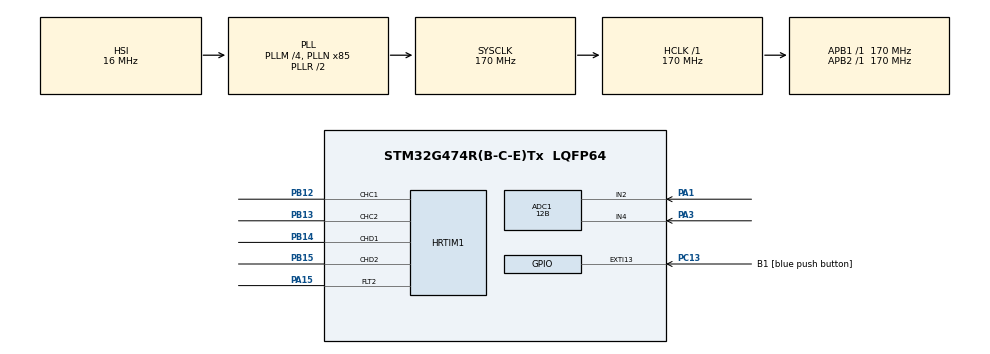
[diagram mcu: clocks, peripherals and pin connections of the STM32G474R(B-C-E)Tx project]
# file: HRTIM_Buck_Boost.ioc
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ADC1.Channel-5\#ChannelRegularConversion=ADC_CHANNEL_2
ADC1.Channel-IN2=ADC_CHANNEL_2
ADC1.Channel-IN4=ADC_CHANNEL_4
ADC1.ClockPrescaler=ADC_CLOCK_SYNC_PCLK_DIV4
ADC1.ContinuousConvMode=DISABLE
ADC1.DMAContinuousRequests=DISABLE
ADC1.DataAlign=ADC_DATAALIGN_RIGHT
ADC1.DiscontinuousConvMode=DISABLE
ADC1.EOCSelection=ADC_EOC_SINGLE_CONV
ADC1.EnableAnalogWatchDog1=false
ADC1.EnableAnalogWatchDog2=false
ADC1.EnableAnalogWatchDog3=false
ADC1.EnableInjectedConversion=ENABLE
ADC1.EnableInjectedOversampling=DISABLE
ADC1.EnableRegularConversion=ENABLE
ADC1.ExternalTrigConv=ADC_SOFTWARE_START
ADC1.ExternalTrigConvEdge=ADC_EXTERNALTRIGCONVEDGE_NONE
ADC1.ExternalTrigInjecConv=ADC_EXTERNALTRIGINJEC_HRTIM_TRG2
ADC1.ExternalTrigInjecConvEdge=ADC_EXTERNALTRIGINJECCONV_EDGE_RISING
ADC1.GainCompensation=0
ADC1.InjNumberOfConversion=2
ADC1.InjectedChannel-2\#ChannelInjectedConversion=ADC_CHANNEL_2
ADC1.InjectedChannel-4\#ChannelInjectedConversion=ADC_CHANNEL_4
ADC1.InjectedConvMode=None
ADC1.InjectedOffsetNumber-2\#ChannelInjectedConversion=ADC_OFFSET_NONE
ADC1.InjectedOffsetNumber-4\#ChannelInjectedConversion=ADC_OFFSET_NONE
ADC1.InjectedRank-2\#ChannelInjectedConversion=1
ADC1.InjectedRank-4\#ChannelInjectedConversion=2
ADC1.InjectedSamplingTime-2\#ChannelInjectedConversion=ADC_SAMPLETIME_247CYCLES_5
ADC1.InjectedSamplingTime-4\#ChannelInjectedConversion=ADC_SAMPLETIME_247CYCLES_5
ADC1.LowPowerAutoWait=DISABLE
ADC1.Mode=ADC_MODE_INDEPENDENT
ADC1.NbrOfConversion=1
ADC1.OffsetNumber-5\#ChannelRegularConversion=ADC_OFFSET_NONE
ADC1.Overrun=ADC_OVR_DATA_PRESERVED
ADC1.OversamplingMode=DISABLE
ADC1.Rank-5\#ChannelRegularConversion=1
ADC1.Resolution=ADC_RESOLUTION_12B
ADC1.SamplingTime-5\#ChannelRegularConversion=ADC_SAMPLETIME_247CYCLES_5
ADC1.ScanConvMode=ADC_SCAN_ENABLE
ADC1.injectedQueueMode=DISABLE
ADC1.master=1
HRTIM1.ADCTrigger2_Source1=HRTIM_ADCTRIGGEREVENT24_TIMERC_CMP2
HRTIM1.ADCTrigger_Id1=__NULL
HRTIM1.ADCTrigger_Id10=__NULL
HRTIM1.ADCTrigger_Id2=HRTIM_ADCTRIGGER_2
HRTIM1.ADCTrigger_Id3=__NULL
HRTIM1.ADCTrigger_Id4=__NULL
HRTIM1.ADCTrigger_Id5=__NULL
HRTIM1.ADCTrigger_Id6=__NULL
HRTIM1.ADCTrigger_Id7=__NULL
HRTIM1.ADCTrigger_Id8=__NULL
HRTIM1.ADCTrigger_Id9=__NULL
HRTIM1.AutoDelayedMode2-Output_TC1TC2=HRTIM_AUTODELAYEDMODE_REGULAR
HRTIM1.BlankingSourceFaultLine2=HRTIM_FAULTBLANKINGMODE_RSTALIGNED
HRTIM1.BurstDMAconfig-Output_TC1TC2=__NULL
HRTIM1.BurstDMAconfig-Output_TD1TD2=__NULL
HRTIM1.BurstMode-Output_TC1TC2=HRTIM_TIMERBURSTMODE_MAINTAINCLOCK
HRTIM1.BurstMode-Output_TD1TD2=HRTIM_TIMERBURSTMODE_MAINTAINCLOCK
HRTIM1.BurstModeEntryDelayed1-Output_TC1TC2=HRTIM_OUTPUTBURSTMODEENTRY_REGULAR
HRTIM1.BurstModeEntryDelayed1-Output_TD1TD2=HRTIM_OUTPUTBURSTMODEENTRY_REGULAR
HRTIM1.BurstModeEntryDelayed2-Output_TC1TC2=HRTIM_OUTPUTBURSTMODEENTRY_REGULAR
HRTIM1.BurstModeEntryDelayed2-Output_TD1TD2=HRTIM_OUTPUTBURSTMODEENTRY_REGULAR
HRTIM1.CaptureUnit1-Output_TC1TC2=__NULL
HRTIM1.CaptureUnit1-Output_TD1TD2=__NULL
HRTIM1.CaptureUnit2-Output_TC1TC2=__NULL
HRTIM1.CaptureUnit2-Output_TD1TD2=__NULL
HRTIM1.ChopperModeEnable1-Output_TC1TC2=HRTIM_OUTPUTCHOPPERMODE_DISABLED
HRTIM1.ChopperModeEnable1-Output_TD1TD2=HRTIM_OUTPUTCHOPPERMODE_DISABLED
HRTIM1.ChopperModeEnable2-Output_TC1TC2=HRTIM_OUTPUTCHOPPERMODE_DISABLED
HRTIM1.ChopperModeEnable2-Output_TD1TD2=HRTIM_OUTPUTCHOPPERMODE_DISABLED
HRTIM1.ChopperModeconfig-Output_TC1TC2=__NULL
HRTIM1.ChopperModeconfig-Output_TD1TD2=__NULL
HRTIM1.CompareUnit1-Output_TC1TC2=HRTIM_COMPAREUNIT_1
HRTIM1.CompareUnit1-Output_TD1TD2=HRTIM_COMPAREUNIT_1
HRTIM1.CompareUnit2-Output_TC1TC2=HRTIM_COMPAREUNIT_2
HRTIM1.CompareUnit2-Output_TD1TD2=__NULL
HRTIM1.CompareUnit3-Output_TC1TC2=__NULL
HRTIM1.CompareUnit3-Output_TD1TD2=__NULL
HRTIM1.CompareUnit4-Output_TC1TC2=__NULL
HRTIM1.CompareUnit4-Output_TD1TD2=__NULL
HRTIM1.CompareValue1-Output_TC1TC2=BUCK_PWM_PERIOD - 0x60
HRTIM1.CompareValue1-Output_TD1TD2=BUCK_PWM_PERIOD+1
HRTIM1.CompareValue2-Output_TC1TC2=BUCK_PWM_PERIOD/2
HRTIM1.Configuration_TC=Waveform
HRTIM1.Configuration_TD=Waveform
HRTIM1.CounterFaultLine2=0
HRTIM1.DACSynchro-Output_TC1TC2=HRTIM_DACSYNC_NONE
HRTIM1.DACSynchro-Output_TD1TD2=HRTIM_DACSYNC_NONE
HRTIM1.DeadTimeInsertion-Output_TC1TC2=HRTIM_TIMDEADTIMEINSERTION_ENABLED
HRTIM1.DeadTimeInsertion-Output_TD1TD2=HRTIM_TIMDEADTIMEINSERTION_ENABLED
HRTIM1.Deadtimeconfig-Output_TC1TC2=HRTIM_TIMERINDEX_TIMER_C
HRTIM1.Deadtimeconfig-Output_TD1TD2=HRTIM_TIMERINDEX_TIMER_D
HRTIM1.DelayedProtectionMode-Output_TC1TC2=HRTIM_TIMER_A_B_C_DELAYEDPROTECTION_DISABLED
HRTIM1.DelayedProtectionMode-Output_TD1TD2=HRTIM_TIMER_D_E_DELAYEDPROTECTION_DISABLED
HRTIM1.DualChannelDacEnableFake_TC-Output_TC1TC2=HRTIM_TIMER_DCDE_DISABLED
HRTIM1.DualChannelDacEnableFake_TD-Output_TD1TD2=HRTIM_TIMER_DCDE_DISABLED
HRTIM1.Enable=HRTIM_BURSTMODECTL_DISABLED
HRTIM1.Enable_FaultLine2=HRTIM_FAULTMODECTL_ENABLED
HRTIM1.Event1-Output_TC1TC2=__NULL
HRTIM1.Event1-Output_TD1TD2=__NULL
HRTIM1.Event10-Output_TC1TC2=__NULL
HRTIM1.Event10-Output_TD1TD2=__NULL
HRTIM1.Event2-Output_TC1TC2=__NULL
HRTIM1.Event2-Output_TD1TD2=__NULL
HRTIM1.Event3-Output_TC1TC2=__NULL
HRTIM1.Event3-Output_TD1TD2=__NULL
HRTIM1.Event4-Output_TC1TC2=__NULL
HRTIM1.Event4-Output_TD1TD2=__NULL
HRTIM1.Event5-Output_TC1TC2=__NULL
HRTIM1.Event5-Output_TD1TD2=__NULL
HRTIM1.Event6-Output_TC1TC2=__NULL
HRTIM1.Event6-Output_TD1TD2=__NULL
HRTIM1.Event7-Output_TC1TC2=__NULL
HRTIM1.Event7-Output_TD1TD2=__NULL
HRTIM1.Event8-Output_TC1TC2=__NULL
HRTIM1.Event8-Output_TD1TD2=__NULL
HRTIM1.Event9-Output_TC1TC2=__NULL
HRTIM1.Event9-Output_TD1TD2=__NULL
HRTIM1.EventEnableA-Output_TC1TC2=__NULL
HRTIM1.EventEnableA-Output_TD1TD2=__NULL
HRTIM1.Event_EEV1=__NULL
HRTIM1.Event_EEV10=__NULL
HRTIM1.Event_EEV2=__NULL
HRTIM1.Event_EEV3=__NULL
HRTIM1.Event_EEV4=__NULL
HRTIM1.Event_EEV5=__NULL
HRTIM1.Event_EEV6=__NULL
HRTIM1.Event_EEV7=__NULL
HRTIM1.Event_EEV8=__NULL
HRTIM1.Event_EEV9=__NULL
HRTIM1.FallingLock-Output_TC1TC2=HRTIM_TIMDEADTIME_FALLINGLOCK_WRITE
HRTIM1.FallingLock-Output_TD1TD2=HRTIM_TIMDEADTIME_FALLINGLOCK_WRITE
HRTIM1.FallingSign-Output_TC1TC2=HRTIM_TIMDEADTIME_FALLINGSIGN_POSITIVE
HRTIM1.FallingSign-Output_TD1TD2=HRTIM_TIMDEADTIME_FALLINGSIGN_POSITIVE
HRTIM1.FallingSignLock-Output_TC1TC2=HRTIM_TIMDEADTIME_FALLINGSIGNLOCK_READONLY
HRTIM1.FallingSignLock-Output_TD1TD2=HRTIM_TIMDEADTIME_FALLINGSIGNLOCK_READONLY
HRTIM1.FallingValue-Output_TC1TC2=DT_FALLING
HRTIM1.FallingValue-Output_TD1TD2=DT_FALLING
HRTIM1.FaultEnable_Source1-Output_TC1TC2=HRTIM_TIMFAULTENABLE_FAULT2
HRTIM1.FaultEnable_Source1-Output_TD1TD2=HRTIM_TIMFAULTENABLE_FAULT2
HRTIM1.FaultLevel1-Output_TC1TC2=HRTIM_OUTPUTFAULTLEVEL_INACTIVE
HRTIM1.FaultLevel1-Output_TD1TD2=HRTIM_OUTPUTFAULTLEVEL_INACTIVE
HRTIM1.FaultLevel2-Output_TC1TC2=HRTIM_OUTPUTFAULTLEVEL_INACTIVE
HRTIM1.FaultLevel2-Output_TD1TD2=HRTIM_OUTPUTFAULTLEVEL_INACTIVE
HRTIM1.FaultLock-Output_TC1TC2=HRTIM_TIMFAULTLOCK_READWRITE
HRTIM1.FaultLock-Output_TD1TD2=HRTIM_TIMFAULTLOCK_READWRITE
HRTIM1.Fault_Line1=__NULL
HRTIM1.Fault_Line2=HRTIM_FAULT_2
HRTIM1.Fault_Line3=__NULL
HRTIM1.Fault_Line4=__NULL
HRTIM1.Fault_Line5=__NULL
HRTIM1.Fault_Line6=__NULL
HRTIM1.Filter_FaultLine2=HRTIM_FAULTFILTER_NONE
HRTIM1.GreaterCMP1_TC=HRTIM_TIMERGTCMP1_EQUAL
HRTIM1.GreaterCMP1_TD=HRTIM_TIMERGTCMP1_EQUAL
HRTIM1.HRTIMInterruptResquests1=HRTIM_IT_NONE
HRTIM1.HRTIMInterruptResquests2=HRTIM_IT_NONE
HRTIM1.HRTIMInterruptResquests3=HRTIM_IT_NONE
HRTIM1.HRTIMInterruptResquests4=HRTIM_IT_NONE
HRTIM1.HRTIMInterruptResquests5=HRTIM_IT_NONE
HRTIM1.HRTIMInterruptResquests6=HRTIM_IT_NONE
HRTIM1.HRTIMInterruptResquests7=HRTIM_IT_NONE
HRTIM1.HRTIMInterruptResquests8=HRTIM_IT_NONE
HRTIM1.HRTIMInterruptResquests9=HRTIM_IT_NONE
HRTIM1.IdleLevel1-Output_TC1TC2=HRTIM_OUTPUTIDLELEVEL_INACTIVE
HRTIM1.IdleLevel1-Output_TD1TD2=HRTIM_OUTPUTIDLELEVEL_INACTIVE
HRTIM1.IdleLevel2-Output_TC1TC2=HRTIM_OUTPUTIDLELEVEL_INACTIVE
HRTIM1.IdleLevel2-Output_TD1TD2=HRTIM_OUTPUTIDLELEVEL_INACTIVE
HRTIM1.IdleMode1-Output_TC1TC2=HRTIM_OUTPUTIDLEMODE_NONE
HRTIM1.IdleMode1-Output_TD1TD2=HRTIM_OUTPUTIDLEMODE_NONE
HRTIM1.IdleMode2-Output_TC1TC2=HRTIM_OUTPUTIDLEMODE_NONE
HRTIM1.IdleMode2-Output_TD1TD2=HRTIM_OUTPUTIDLEMODE_NONE
HRTIM1.InterleavedMode-Output_TC1TC2=HRTIM_INTERLEAVED_MODE_DISABLED
HRTIM1.InterleavedMode-Output_TD1TD2=HRTIM_INTERLEAVED_MODE_DISABLED
HRTIM1.InterruptRequests1-Output_TC1TC2=HRTIM_TIM_IT_REP
HRTIM1.InterruptRequests1-Output_TD1TD2=HRTIM_TIM_IT_REP
HRTIM1.Lock_FaultLine2=HRTIM_FAULTLOCK_READWRITE
HRTIM1.ModeTimeBase-Output_TC1TC2=HRTIM_MODE_CONTINUOUS
HRTIM1.ModeTimeBase-Output_TD1TD2=HRTIM_MODE_CONTINUOUS
HRTIM1.NumberADCTriggerSource2=1
HRTIM1.NumberDMARequests_TC=0
HRTIM1.NumberDMARequests_TD=0
HRTIM1.NumberFaultEnable-Output_TC1TC2=1
HRTIM1.NumberFaultEnable-Output_TD1TD2=1
HRTIM1.NumberInterruptRequests-Output_TC1TC2=1
HRTIM1.NumberInterruptRequests-Output_TD1TD2=1
HRTIM1.NumberResetSource1-Output_TC1TC2=1
HRTIM1.NumberResetSource1-Output_TD1TD2=1
HRTIM1.NumberResetSource2_TC=1
HRTIM1.NumberResetSource2_TD=1
HRTIM1.NumberResetTrigger-Output_TC1TC2=0
HRTIM1.NumberResetTrigger-Output_TD1TD2=0
HRTIM1.NumberSetSource1-Output_TC1TC2=1
HRTIM1.NumberSetSource1-Output_TD1TD2=1
HRTIM1.NumberSetSource2_TC=1
HRTIM1.NumberSetSource2_TD=1
HRTIM1.NumberUpdateTrigger-Output_TC1TC2=0
HRTIM1.NumberUpdateTrigger-Output_TD1TD2=0
HRTIM1.ORingUpdateSource_ADCTrigger2=HRTIM_ADCTRIGGERUPDATE_TIMER_C
HRTIM1.Output1-Output_TC1TC2=HRTIM_OUTPUT_TC1
HRTIM1.Output1-Output_TD1TD2=HRTIM_OUTPUT_TD1
HRTIM1.Output2-Output_TC1TC2=HRTIM_OUTPUT_TC2
HRTIM1.Output2-Output_TD1TD2=HRTIM_OUTPUT_TD2
HRTIM1.Periode_TC=BUCK_PWM_PERIOD
HRTIM1.Periode_TD=BUCK_PWM_PERIOD
HRTIM1.Polarity1-Output_TC1TC2=HRTIM_OUTPUTPOLARITY_HIGH
HRTIM1.Polarity1-Output_TD1TD2=HRTIM_OUTPUTPOLARITY_HIGH
HRTIM1.Polarity2-Output_TC1TC2=HRTIM_OUTPUTPOLARITY_HIGH
HRTIM1.Polarity2-Output_TD1TD2=HRTIM_OUTPUTPOLARITY_HIGH
HRTIM1.Polarity_FaultLine2=HRTIM_FAULTPOLARITY_LOW
HRTIM1.PreloadEnable-Output_TC1TC2=HRTIM_PRELOAD_ENABLED
HRTIM1.PreloadEnable-Output_TD1TD2=HRTIM_PRELOAD_ENABLED
HRTIM1.PrescalerDead-Output_TC1TC2=HRTIM_TIMDEADTIME_PRESCALERRATIO_MUL8
HRTIM1.PrescalerDead-Output_TD1TD2=HRTIM_TIMDEADTIME_PRESCALERRATIO_MUL8
HRTIM1.PrescalerFault=HRTIM_FAULTPRESCALER_DIV1
HRTIM1.PushPull-Output_TC1TC2=HRTIM_TIMPUSHPULLMODE_DISABLED
HRTIM1.PushPull-Output_TD1TD2=HRTIM_TIMPUSHPULLMODE_DISABLED
HRTIM1.ReSyncUpdate-Output_TC1TC2=HRTIM_TIMERESYNC_UPDATE_UNCONDITIONAL
HRTIM1.ReSyncUpdate-Output_TD1TD2=HRTIM_TIMERESYNC_UPDATE_UNCONDITIONAL
HRTIM1.RepetitionCounter-Output_TC1TC2=31
HRTIM1.RepetitionCounter-Output_TD1TD2=31
HRTIM1.RepetitionUpdate-Output_TC1TC2=HRTIM_UPDATEONREPETITION_ENABLED
HRTIM1.RepetitionUpdate-Output_TD1TD2=HRTIM_UPDATEONREPETITION_ENABLED
HRTIM1.ResetModeFaultLine2=HRTIM_FAULTCOUNTERRST_UNCONDITIONAL
HRTIM1.ResetOnSync-Output_TC1TC2=HRTIM_SYNCRESET_DISABLED
HRTIM1.ResetOnSync-Output_TD1TD2=HRTIM_SYNCRESET_DISABLED
HRTIM1.ResetOutput1_Source1-Output_TC1TC2=HRTIM_OUTPUTRESET_TIMPER
HRTIM1.ResetOutput1_Source1-Output_TD1TD2=HRTIM_OUTPUTRESET_TIMPER
HRTIM1.ResetOutput2_Source1-Output_TC1TC2=HRTIM_OUTPUTRESET_TIMPER
HRTIM1.ResetOutput2_Source1-Output_TD1TD2=HRTIM_OUTPUTRESET_TIMPER
HRTIM1.ResetUpdate-Output_TC1TC2=HRTIM_TIMUPDATEONRESET_DISABLED
HRTIM1.ResetUpdate-Output_TD1TD2=HRTIM_TIMUPDATEONRESET_DISABLED
HRTIM1.RisingLock-Output_TC1TC2=HRTIM_TIMDEADTIME_RISINGLOCK_WRITE
HRTIM1.RisingLock-Output_TD1TD2=HRTIM_TIMDEADTIME_RISINGLOCK_WRITE
HRTIM1.RisingSign-Output_TC1TC2=HRTIM_TIMDEADTIME_RISINGSIGN_POSITIVE
HRTIM1.RisingSign-Output_TD1TD2=HRTIM_TIMDEADTIME_RISINGSIGN_POSITIVE
HRTIM1.RisingSignLock-Output_TC1TC2=HRTIM_TIMDEADTIME_RISINGSIGNLOCK_READONLY
HRTIM1.RisingSignLock-Output_TD1TD2=HRTIM_TIMDEADTIME_RISINGSIGNLOCK_READONLY
HRTIM1.RisingValue-Output_TC1TC2=DT_RISING
HRTIM1.RisingValue-Output_TD1TD2=DT_RISING
HRTIM1.SetOutput1_Source1-Output_TC1TC2=HRTIM_OUTPUTSET_TIMCMP1
HRTIM1.SetOutput1_Source1-Output_TD1TD2=HRTIM_OUTPUTSET_TIMCMP1
HRTIM1.SetOutput2_Source1-Output_TC1TC2=HRTIM_OUTPUTSET_TIMCMP1
HRTIM1.SetOutput2_Source1-Output_TD1TD2=HRTIM_OUTPUTSET_TIMCMP1
HRTIM1.Source_FaultLine2=HRTIM_FAULTSOURCE_DIGITALINPUT
HRTIM1.StartOnSync-Output_TC1TC2=HRTIM_SYNCSTART_DISABLED
HRTIM1.StartOnSync-Output_TD1TD2=HRTIM_SYNCSTART_DISABLED
HRTIM1.SwapC=__NULL
HRTIM1.SwapD=__NULL
HRTIM1.SyncOptions=HRTIM_SYNCOPTION_NONE
HRTIM1.Timeout=100
HRTIM1.TimerIdx-Output_TC1TC2=HRTIM_TIMERINDEX_TIMER_C
HRTIM1.TimerIdx-Output_TD1TD2=HRTIM_TIMERINDEX_TIMER_D
HRTIM1.TrigHalf_TC=HRTIM_TIMERTRIGHALF_DISABLED
HRTIM1.UpDownMode-Output_TC1TC2=HRTIM_TIMERUPDOWNMODE_UP
HRTIM1.UpDownMode-Output_TD1TD2=HRTIM_TIMERUPDOWNMODE_UP
HRTIM1.UpdateGating-Output_TC1TC2=HRTIM_UPDATEGATING_INDEPENDENT
HRTIM1.UpdateGating-Output_TD1TD2=HRTIM_UPDATEGATING_INDEPENDENT
HRTIM1.postscaler2=0x0
Mcu.Family=STM32G4
Mcu.Name=STM32G474R(B-C-E)Tx
Mcu.Package=LQFP64
NVIC.PriorityGroup=NVIC_PRIORITYGROUP_4
PA1.Mode=IN2-Single-Ended
PA1.Signal=ADC1_IN2
PA13.GPIO_Label=T_SWDIO
PA13.Mode=Serial_Wire
PA13.Signal=SYS_JTMS-SWDIO
PA14.GPIO_Label=T_SWCLK
PA14.Mode=Serial_Wire
PA14.Signal=SYS_JTCK-SWCLK
PA15.GPIO_PuPd=GPIO_PULLUP
PA15.Mode=Fault_Enable2
PA15.Signal=HRTIM1_FLT2
PA3.Mode=IN4-Single-Ended
PA3.Signal=ADC1_IN4
PB12.Mode=Output_TC1TC2
PB12.Signal=HRTIM1_CHC1
PB13.Mode=Output_TC1TC2
PB13.Signal=HRTIM1_CHC2
PB14.Mode=Output_TD1TD2
PB14.Signal=HRTIM1_CHD1
PB15.Mode=Output_TD1TD2
PB15.Signal=HRTIM1_CHD2
PB3.GPIO_Label=T_SWO
PB3.Signal=SYS_JTDO-SWO
PC13.GPIO_Label=B1 [blue push button]
PC13.Signal=GPXTI13
ProjectManager.HeapSize=0x200
ProjectManager.StackSize=0x400
ProjectManager.TargetToolchain=EWARM V8.32
RCC.ADC12Freq_Value=170000000
RCC.ADC345Freq_Value=170000000
RCC.AHBFreq_Value=170000000
RCC.APB1Freq_Value=170000000
RCC.APB1TimFreq_Value=170000000
RCC.APB2Freq_Value=170000000
RCC.APB2TimFreq_Value=170000000
RCC.CortexFreq_Value=170000000
RCC.EXTERNAL_CLOCK_VALUE=12288000
RCC.HCLKFreq_Value=170000000
RCC.HSE_VALUE=24000000
RCC.HSI48_VALUE=48000000
RCC.HSI_VALUE=16000000
RCC.LSE_VALUE=32768
RCC.PLLM=RCC_PLLM_DIV4
RCC.PLLN=85
RCC.SYSCLKFreq_VALUE=170000000
RCC.SYSCLKSource=RCC_SYSCLKSOURCE_PLLCLK
RCC.USBFreq_Value=170000000
RCC.VCOOutputFreq_Value=340000000
VP_SYS_VS_DBSignals.Mode=DisableDeadBatterySignals
board=custom

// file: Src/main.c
/* USER CODE BEGIN Header */
/**
  ******************************************************************************
  * @file           : main.c
  * @brief          : Main program body
  ******************************************************************************
  * @attention
  *
  * Copyright (c) 2019-2021 STMicroelectronics.
  * All rights reserved.
  *
  * This software is licensed under terms that can be found in the LICENSE file
  * in the root directory of this software component.
  * If no LICENSE file comes with this software, it is provided AS-IS.
  *
  ******************************************************************************
  */
/* USER CODE END Header */
#include "main.h"

/* USER CODE BEGIN Includes */
#include "b_g474e_dpow1.h"
/* USER CODE END Includes */

ADC_HandleTypeDef hadc1;

HRTIM_HandleTypeDef hhrtim1;

/* USER CODE BEGIN PV */
/* Private variables ---------------------------------------------------------*/
/* BUCK cannot re-start until Vout capacitor is de-energized below this value */
#define DE_ENERGIZING_THRESHOLD         ((uint16_t)2500)

/* BOOST cannot be started if VIN value is above this threshold */
#define OVER_VOLTAGE_PROTECTION         ((uint16_t)5000)

/* This is the VDDA supply in mV */
#define VDDA                            ((uint16_t)3300)

/* Deadtime values for buck and boost stages */
#define DT_RISING       ((uint16_t)250) // 184ns
#define DT_FALLING      ((uint16_t)300) // 220ns

__IO uint32_t Vin, Vout; /* volatile is here for debug convenience */

DemoState_TypeDef DemoState;

/* USER CODE END PV */

void SystemClock_Config(void);
static void MX_GPIO_Init(void);
static void MX_HRTIM1_Init(void);
static void MX_ADC1_Init(void);

int main(void)
{

  /* MCU Configuration--------------------------------------------------------*/

  /* Reset of all peripherals, Initializes the Flash interface and the Systick. */
  HAL_Init();

  /* Configure the system clock */
  SystemClock_Config();

  /* Initialize all configured peripherals */
  MX_GPIO_Init();
  MX_HRTIM1_Init();
  MX_ADC1_Init();
  /* USER CODE BEGIN 2 */
  BSP_LED_Init(LED4);
  BSP_LED_Init(LED3);
  BSP_LED_Init(LED5);

  BSP_JOY_Init(JOY1, JOY_MODE_GPIO, JOY_SEL);

  /* Run the ADC1 calibration in single-ended mode */
  HAL_ADCEx_Calibration_Start(&hadc1, ADC_SINGLE_ENDED);

  /* Start ADC1 Injected Conversions */
  HAL_ADCEx_InjectedStart(&hadc1);

  /* Demo starts by de-energizing output capacitor, should the demo be in boost
  mode when the MCU is reset */
  DemoState = DE_ENERGIZE;

  /* HRTIM start-up */
  /* Enable HRTIM's outputs TC1, TC2, TD1 and TD2 */
  LL_HRTIM_EnableOutput(HRTIM1,
                          LL_HRTIM_OUTPUT_TC1
                        | LL_HRTIM_OUTPUT_TC2
                        | LL_HRTIM_OUTPUT_TD1
                        | LL_HRTIM_OUTPUT_TD2);

  LL_HRTIM_EnableIT_REP(HRTIM1, LL_HRTIM_TIMER_C);
  LL_HRTIM_EnableIT_REP(HRTIM1, LL_HRTIM_TIMER_D);
  LL_HRTIM_TIM_CounterEnable(HRTIM1, LL_HRTIM_TIMER_C);
  LL_HRTIM_TIM_CounterEnable(HRTIM1, LL_HRTIM_TIMER_D);

  /* USER CODE END 2 */

  /* Infinite loop */
  while (1)
  {

    /* USER CODE BEGIN 3 */

    /* ---------------- */
    /* Fault management */
    /* ---------------- */
    if (LL_HRTIM_IsActiveFlag_FLT2(HRTIM1))
      DemoState = FAULT;

    /* -------------------------------------------------------------------------*/
    /* Input and output voltages measures (can be displayed in a watch window)  */
    /* -------------------------------------------------------------------------*/
    Vin = (HAL_ADCEx_InjectedGetValue(&hadc1, ADC_INJECTED_RANK_1) * VDDA)/0xFFF;
    /* VIN bridge conversion is 4.97 (6.8K / 6.8K + 27K) */
    Vin = (497 * Vin )/100; /* Values in mV (for debug convenience) */

    Vout = (HAL_ADCEx_InjectedGetValue(&hadc1, ADC_INJECTED_RANK_2) * VDDA)/0xFFF;
    /* VOUT bridge conversion is 5.03 (3.3K / 3.3K + 13.3K) */
    Vout = (503 * Vout)/100; /* Values in mV (for debug convenience) */

    /* ---------------- */
    /* Normal operation */
    /* ---------------- */
    switch(DemoState)
    {
    case BUCK:
      /* Duty cycle is modified in the TIMC IRQ */
      /* BOOST cannot be started if VIN value is too high (Vout must not exceed 15V)*/
      if ((BSP_JOY_GetState(JOY1) == JOY_SEL) && (Vin < OVER_VOLTAGE_PROTECTION))
      {
        DemoState = BOOST;
        while(BSP_JOY_GetState(JOY1) == JOY_SEL);
      }
      BSP_LED_Toggle(LED4);
      BSP_LED_Off(LED3);
      break;

    case BOOST:
      /* Vout capacitor must be de-energized before switching to BUCK mode
      otherwise causing current to flow back into voltage source */
      if (BSP_JOY_GetState(JOY1) == JOY_SEL)
      {
        DemoState = DE_ENERGIZE;
        while(BSP_JOY_GetState(JOY1) == JOY_SEL);
      }
      BSP_LED_Toggle(LED3);
      BSP_LED_Off(LED4);
      break;

    case DE_ENERGIZE:
      /* Once Vout is below a safe level (below Vin value), BUCK operation can be started */
      if (Vout < DE_ENERGIZING_THRESHOLD)
      {
        DemoState = BUCK;
      }
      BSP_LED_Off(LED3);
      BSP_LED_Off(LED5);
      break;

    case FAULT:
      /* If fault is triggered, operation can be re-started with the push-button */
      if (BSP_JOY_GetState(JOY1) == JOY_SEL)
      {
        LL_HRTIM_ClearFlag_FLT2(HRTIM1);
        LL_HRTIM_EnableOutput(HRTIM1,
                               LL_HRTIM_OUTPUT_TC1
                             | LL_HRTIM_OUTPUT_TC2
                             | LL_HRTIM_OUTPUT_TD1
                             | LL_HRTIM_OUTPUT_TD2);

        DemoState = DE_ENERGIZE;
        while(BSP_JOY_GetState(JOY1) == JOY_SEL);
      }
      BSP_LED_Toggle(LED5);
      BSP_LED_Off(LED4);
      BSP_LED_Off(LED3);
      break;

    default:
      LL_HRTIM_DisableOutput(HRTIM1,
                            LL_HRTIM_OUTPUT_TC1
                          | LL_HRTIM_OUTPUT_TC2
                          | LL_HRTIM_OUTPUT_TD1
                          | LL_HRTIM_OUTPUT_TD2);
      break;
    }

    /* This delay defines the main loop time and LED blinking rate*/
    HAL_Delay(50);

  }
  /* USER CODE END 3 */
}

void SystemClock_Config(void)
{
  RCC_OscInitTypeDef RCC_OscInitStruct = {0};
  RCC_ClkInitTypeDef RCC_ClkInitStruct = {0};

  /** Configure the main internal regulator output voltage
  */
  HAL_PWREx_ControlVoltageScaling(PWR_REGULATOR_VOLTAGE_SCALE1_BOOST);

  /** Initializes the RCC Oscillators according to the specified parameters
  * in the RCC_OscInitTypeDef structure.
  */
  RCC_OscInitStruct.OscillatorType = RCC_OSCILLATORTYPE_HSI;
  RCC_OscInitStruct.HSIState = RCC_HSI_ON;
  RCC_OscInitStruct.HSICalibrationValue = RCC_HSICALIBRATION_DEFAULT;
  RCC_OscInitStruct.PLL.PLLState = RCC_PLL_ON;
  RCC_OscInitStruct.PLL.PLLSource = RCC_PLLSOURCE_HSI;
  RCC_OscInitStruct.PLL.PLLM = RCC_PLLM_DIV4;
  RCC_OscInitStruct.PLL.PLLN = 85;
  RCC_OscInitStruct.PLL.PLLP = RCC_PLLP_DIV2;
  RCC_OscInitStruct.PLL.PLLQ = RCC_PLLQ_DIV2;
  RCC_OscInitStruct.PLL.PLLR = RCC_PLLR_DIV2;
  if (HAL_RCC_OscConfig(&RCC_OscInitStruct) != HAL_OK)
  {
    Error_Handler();
  }

  /** Initializes the CPU, AHB and APB buses clocks
  */
  RCC_ClkInitStruct.ClockType = RCC_CLOCKTYPE_HCLK|RCC_CLOCKTYPE_SYSCLK
                              |RCC_CLOCKTYPE_PCLK1|RCC_CLOCKTYPE_PCLK2;
  RCC_ClkInitStruct.SYSCLKSource = RCC_SYSCLKSOURCE_PLLCLK;
  RCC_ClkInitStruct.AHBCLKDivider = RCC_SYSCLK_DIV1;
  RCC_ClkInitStruct.APB1CLKDivider = RCC_HCLK_DIV1;
  RCC_ClkInitStruct.APB2CLKDivider = RCC_HCLK_DIV1;

  if (HAL_RCC_ClockConfig(&RCC_ClkInitStruct, FLASH_LATENCY_4) != HAL_OK)
  {
    Error_Handler();
  }
}

static void MX_ADC1_Init(void)
{

  ADC_MultiModeTypeDef multimode = {0};
  ADC_InjectionConfTypeDef sConfigInjected = {0};
  ADC_ChannelConfTypeDef sConfig = {0};

  /** Common config
  */
  hadc1.Instance = ADC1;
  hadc1.Init.ClockPrescaler = ADC_CLOCK_SYNC_PCLK_DIV4;
  hadc1.Init.Resolution = ADC_RESOLUTION_12B;
  hadc1.Init.DataAlign = ADC_DATAALIGN_RIGHT;
  hadc1.Init.GainCompensation = 0;
  hadc1.Init.ScanConvMode = ADC_SCAN_ENABLE;
  hadc1.Init.EOCSelection = ADC_EOC_SINGLE_CONV;
  hadc1.Init.LowPowerAutoWait = DISABLE;
  hadc1.Init.ContinuousConvMode = DISABLE;
  hadc1.Init.NbrOfConversion = 1;
  hadc1.Init.DiscontinuousConvMode = DISABLE;
  hadc1.Init.ExternalTrigConv = ADC_SOFTWARE_START;
  hadc1.Init.ExternalTrigConvEdge = ADC_EXTERNALTRIGCONVEDGE_NONE;
  hadc1.Init.DMAContinuousRequests = DISABLE;
  hadc1.Init.Overrun = ADC_OVR_DATA_PRESERVED;
  hadc1.Init.OversamplingMode = DISABLE;
  if (HAL_ADC_Init(&hadc1) != HAL_OK)
  {
    Error_Handler();
  }

  /** Configure the ADC multi-mode
  */
  multimode.Mode = ADC_MODE_INDEPENDENT;
  if (HAL_ADCEx_MultiModeConfigChannel(&hadc1, &multimode) != HAL_OK)
  {
    Error_Handler();
  }

  /** Configure Injected Channel
  */
  sConfigInjected.InjectedChannel = ADC_CHANNEL_2;
  sConfigInjected.InjectedRank = ADC_INJECTED_RANK_1;
  sConfigInjected.InjectedSamplingTime = ADC_SAMPLETIME_247CYCLES_5;
  sConfigInjected.InjectedSingleDiff = ADC_SINGLE_ENDED;
  sConfigInjected.InjectedOffsetNumber = ADC_OFFSET_NONE;
  sConfigInjected.InjectedOffset = 0;
  sConfigInjected.InjectedNbrOfConversion = 2;
  sConfigInjected.InjectedDiscontinuousConvMode = DISABLE;
  sConfigInjected.AutoInjectedConv = DISABLE;
  sConfigInjected.QueueInjectedContext = DISABLE;
  sConfigInjected.ExternalTrigInjecConv = ADC_EXTERNALTRIGINJEC_HRTIM_TRG2;
  sConfigInjected.ExternalTrigInjecConvEdge = ADC_EXTERNALTRIGINJECCONV_EDGE_RISING;
  sConfigInjected.InjecOversamplingMode = DISABLE;
  if (HAL_ADCEx_InjectedConfigChannel(&hadc1, &sConfigInjected) != HAL_OK)
  {
    Error_Handler();
  }

  /** Configure Injected Channel
  */
  sConfigInjected.InjectedChannel = ADC_CHANNEL_4;
  sConfigInjected.InjectedRank = ADC_INJECTED_RANK_2;
  if (HAL_ADCEx_InjectedConfigChannel(&hadc1, &sConfigInjected) != HAL_OK)
  {
    Error_Handler();
  }

  /** Configure Regular Channel
  */
  sConfig.Channel = ADC_CHANNEL_2;
  sConfig.Rank = ADC_REGULAR_RANK_1;
  sConfig.SamplingTime = ADC_SAMPLETIME_247CYCLES_5;
  sConfig.SingleDiff = ADC_SINGLE_ENDED;
  sConfig.OffsetNumber = ADC_OFFSET_NONE;
  sConfig.Offset = 0;
  if (HAL_ADC_ConfigChannel(&hadc1, &sConfig) != HAL_OK)
  {
    Error_Handler();
  }

}

static void MX_HRTIM1_Init(void)
{

  HRTIM_FaultBlankingCfgTypeDef pFaultBlkCfg = {0};
  HRTIM_FaultCfgTypeDef pFaultCfg = {0};
  HRTIM_ADCTriggerCfgTypeDef pADCTriggerCfg = {0};
  HRTIM_TimeBaseCfgTypeDef pTimeBaseCfg = {0};
  HRTIM_TimerCtlTypeDef pTimerCtl = {0};
  HRTIM_TimerCfgTypeDef pTimerCfg = {0};
  HRTIM_CompareCfgTypeDef pCompareCfg = {0};
  HRTIM_DeadTimeCfgTypeDef pDeadTimeCfg = {0};
  HRTIM_OutputCfgTypeDef pOutputCfg = {0};

  hhrtim1.Instance = HRTIM1;
  hhrtim1.Init.HRTIMInterruptResquests = HRTIM_IT_NONE;
  hhrtim1.Init.SyncOptions = HRTIM_SYNCOPTION_NONE;
  if (HAL_HRTIM_Init(&hhrtim1) != HAL_OK)
  {
    Error_Handler();
  }
  if (HAL_HRTIM_DLLCalibrationStart(&hhrtim1, HRTIM_CALIBRATIONRATE_3) != HAL_OK)
  {
    Error_Handler();
  }
  if (HAL_HRTIM_PollForDLLCalibration(&hhrtim1, 100) != HAL_OK)
  {
    Error_Handler();
  }
  if (HAL_HRTIM_FaultPrescalerConfig(&hhrtim1, HRTIM_FAULTPRESCALER_DIV1) != HAL_OK)
  {
    Error_Handler();
  }
  pFaultBlkCfg.Threshold = 0;
  pFaultBlkCfg.ResetMode = HRTIM_FAULTCOUNTERRST_UNCONDITIONAL;
  pFaultBlkCfg.BlankingSource = HRTIM_FAULTBLANKINGMODE_RSTALIGNED;
  if (HAL_HRTIM_FaultCounterConfig(&hhrtim1, HRTIM_FAULT_2, &pFaultBlkCfg) != HAL_OK)
  {
    Error_Handler();
  }
  if (HAL_HRTIM_FaultBlankingConfigAndEnable(&hhrtim1, HRTIM_FAULT_2, &pFaultBlkCfg) != HAL_OK)
  {
    Error_Handler();
  }
  pFaultCfg.Source = HRTIM_FAULTSOURCE_DIGITALINPUT;
  pFaultCfg.Polarity = HRTIM_FAULTPOLARITY_LOW;
  pFaultCfg.Filter = HRTIM_FAULTFILTER_NONE;
  pFaultCfg.Lock = HRTIM_FAULTLOCK_READWRITE;
  if (HAL_HRTIM_FaultConfig(&hhrtim1, HRTIM_FAULT_2, &pFaultCfg) != HAL_OK)
  {
    Error_Handler();
  }
  HAL_HRTIM_FaultModeCtl(&hhrtim1, HRTIM_FAULT_2, HRTIM_FAULTMODECTL_ENABLED);
  pADCTriggerCfg.UpdateSource = HRTIM_ADCTRIGGERUPDATE_TIMER_C;
  pADCTriggerCfg.Trigger = HRTIM_ADCTRIGGEREVENT24_TIMERC_CMP2;
  if (HAL_HRTIM_ADCTriggerConfig(&hhrtim1, HRTIM_ADCTRIGGER_2, &pADCTriggerCfg) != HAL_OK)
  {
    Error_Handler();
  }
  if (HAL_HRTIM_ADCPostScalerConfig(&hhrtim1, HRTIM_ADCTRIGGER_2, 0x0) != HAL_OK)
  {
    Error_Handler();
  }
  pTimeBaseCfg.Period = BUCK_PWM_PERIOD;
  pTimeBaseCfg.RepetitionCounter = 31;
  pTimeBaseCfg.PrescalerRatio = HRTIM_PRESCALERRATIO_MUL32;
  pTimeBaseCfg.Mode = HRTIM_MODE_CONTINUOUS;
  if (HAL_HRTIM_TimeBaseConfig(&hhrtim1, HRTIM_TIMERINDEX_TIMER_C, &pTimeBaseCfg) != HAL_OK)
  {
    Error_Handler();
  }
  pTimerCtl.UpDownMode = HRTIM_TIMERUPDOWNMODE_UP;
  pTimerCtl.TrigHalf = HRTIM_TIMERTRIGHALF_DISABLED;
  pTimerCtl.GreaterCMP1 = HRTIM_TIMERGTCMP1_EQUAL;
  pTimerCtl.DualChannelDacEnable = HRTIM_TIMER_DCDE_DISABLED;
  if (HAL_HRTIM_WaveformTimerControl(&hhrtim1, HRTIM_TIMERINDEX_TIMER_C, &pTimerCtl) != HAL_OK)
  {
    Error_Handler();
  }
  pTimerCfg.InterruptRequests = HRTIM_TIM_IT_REP;
  pTimerCfg.DMARequests = HRTIM_TIM_DMA_NONE;
  pTimerCfg.DMASrcAddress = 0x0000;
  pTimerCfg.DMADstAddress = 0x0000;
  pTimerCfg.DMASize = 0x1;
  pTimerCfg.HalfModeEnable = HRTIM_HALFMODE_DISABLED;
  pTimerCfg.InterleavedMode = HRTIM_INTERLEAVED_MODE_DISABLED;
  pTimerCfg.StartOnSync = HRTIM_SYNCSTART_DISABLED;
  pTimerCfg.ResetOnSync = HRTIM_SYNCRESET_DISABLED;
  pTimerCfg.DACSynchro = HRTIM_DACSYNC_NONE;
  pTimerCfg.PreloadEnable = HRTIM_PRELOAD_ENABLED;
  pTimerCfg.UpdateGating = HRTIM_UPDATEGATING_INDEPENDENT;
  pTimerCfg.BurstMode = HRTIM_TIMERBURSTMODE_MAINTAINCLOCK;
  pTimerCfg.RepetitionUpdate = HRTIM_UPDATEONREPETITION_ENABLED;
  pTimerCfg.PushPull = HRTIM_TIMPUSHPULLMODE_DISABLED;
  pTimerCfg.FaultEnable = HRTIM_TIMFAULTENABLE_FAULT2;
  pTimerCfg.FaultLock = HRTIM_TIMFAULTLOCK_READWRITE;
  pTimerCfg.DeadTimeInsertion = HRTIM_TIMDEADTIMEINSERTION_ENABLED;
  pTimerCfg.DelayedProtectionMode = HRTIM_TIMER_A_B_C_DELAYEDPROTECTION_DISABLED;
  pTimerCfg.UpdateTrigger = HRTIM_TIMUPDATETRIGGER_NONE;
  pTimerCfg.ResetTrigger = HRTIM_TIMRESETTRIGGER_NONE;
  pTimerCfg.ResetUpdate = HRTIM_TIMUPDATEONRESET_DISABLED;
  pTimerCfg.ReSyncUpdate = HRTIM_TIMERESYNC_UPDATE_UNCONDITIONAL;
  if (HAL_HRTIM_WaveformTimerConfig(&hhrtim1, HRTIM_TIMERINDEX_TIMER_C, &pTimerCfg) != HAL_OK)
  {
    Error_Handler();
  }
  pTimerCfg.DelayedProtectionMode = HRTIM_TIMER_D_E_DELAYEDPROTECTION_DISABLED;
  if (HAL_HRTIM_WaveformTimerConfig(&hhrtim1, HRTIM_TIMERINDEX_TIMER_D, &pTimerCfg) != HAL_OK)
  {
    Error_Handler();
  }
  pCompareCfg.CompareValue = BUCK_PWM_PERIOD - 0x60;
  if (HAL_HRTIM_WaveformCompareConfig(&hhrtim1, HRTIM_TIMERINDEX_TIMER_C, HRTIM_COMPAREUNIT_1, &pCompareCfg) != HAL_OK)
  {
    Error_Handler();
  }
  pCompareCfg.CompareValue = BUCK_PWM_PERIOD/2;
  pCompareCfg.AutoDelayedMode = HRTIM_AUTODELAYEDMODE_REGULAR;
  pCompareCfg.AutoDelayedTimeout = 0x0000;

  if (HAL_HRTIM_WaveformCompareConfig(&hhrtim1, HRTIM_TIMERINDEX_TIMER_C, HRTIM_COMPAREUNIT_2, &pCompareCfg) != HAL_OK)
  {
    Error_Handler();
  }
  pDeadTimeCfg.Prescaler = HRTIM_TIMDEADTIME_PRESCALERRATIO_MUL8;
  pDeadTimeCfg.RisingValue = DT_RISING;
  pDeadTimeCfg.RisingSign = HRTIM_TIMDEADTIME_RISINGSIGN_POSITIVE;
  pDeadTimeCfg.RisingLock = HRTIM_TIMDEADTIME_RISINGLOCK_WRITE;
  pDeadTimeCfg.RisingSignLock = HRTIM_TIMDEADTIME_RISINGSIGNLOCK_READONLY;
  pDeadTimeCfg.FallingValue = DT_FALLING;
  pDeadTimeCfg.FallingSign = HRTIM_TIMDEADTIME_FALLINGSIGN_POSITIVE;
  pDeadTimeCfg.FallingLock = HRTIM_TIMDEADTIME_FALLINGLOCK_WRITE;
  pDeadTimeCfg.FallingSignLock = HRTIM_TIMDEADTIME_FALLINGSIGNLOCK_READONLY;
  if (HAL_HRTIM_DeadTimeConfig(&hhrtim1, HRTIM_TIMERINDEX_TIMER_C, &pDeadTimeCfg) != HAL_OK)
  {
    Error_Handler();
  }
  if (HAL_HRTIM_DeadTimeConfig(&hhrtim1, HRTIM_TIMERINDEX_TIMER_D, &pDeadTimeCfg) != HAL_OK)
  {
    Error_Handler();
  }
  pOutputCfg.Polarity = HRTIM_OUTPUTPOLARITY_HIGH;
  pOutputCfg.SetSource = HRTIM_OUTPUTSET_TIMCMP1;
  pOutputCfg.ResetSource = HRTIM_OUTPUTRESET_TIMPER;
  pOutputCfg.IdleMode = HRTIM_OUTPUTIDLEMODE_NONE;
  pOutputCfg.IdleLevel = HRTIM_OUTPUTIDLELEVEL_INACTIVE;
  pOutputCfg.FaultLevel = HRTIM_OUTPUTFAULTLEVEL_INACTIVE;
  pOutputCfg.ChopperModeEnable = HRTIM_OUTPUTCHOPPERMODE_DISABLED;
  pOutputCfg.BurstModeEntryDelayed = HRTIM_OUTPUTBURSTMODEENTRY_REGULAR;
  if (HAL_HRTIM_WaveformOutputConfig(&hhrtim1, HRTIM_TIMERINDEX_TIMER_C, HRTIM_OUTPUT_TC1, &pOutputCfg) != HAL_OK)
  {
    Error_Handler();
  }
  if (HAL_HRTIM_WaveformOutputConfig(&hhrtim1, HRTIM_TIMERINDEX_TIMER_D, HRTIM_OUTPUT_TD1, &pOutputCfg) != HAL_OK)
  {
    Error_Handler();
  }
  if (HAL_HRTIM_WaveformOutputConfig(&hhrtim1, HRTIM_TIMERINDEX_TIMER_C, HRTIM_OUTPUT_TC2, &pOutputCfg) != HAL_OK)
  {
    Error_Handler();
  }
  if (HAL_HRTIM_WaveformOutputConfig(&hhrtim1, HRTIM_TIMERINDEX_TIMER_D, HRTIM_OUTPUT_TD2, &pOutputCfg) != HAL_OK)
  {
    Error_Handler();
  }
  if (HAL_HRTIM_TimeBaseConfig(&hhrtim1, HRTIM_TIMERINDEX_TIMER_D, &pTimeBaseCfg) != HAL_OK)
  {
    Error_Handler();
  }
  if (HAL_HRTIM_WaveformTimerControl(&hhrtim1, HRTIM_TIMERINDEX_TIMER_D, &pTimerCtl) != HAL_OK)
  {
    Error_Handler();
  }
  pCompareCfg.CompareValue = BUCK_PWM_PERIOD+1;
  if (HAL_HRTIM_WaveformCompareConfig(&hhrtim1, HRTIM_TIMERINDEX_TIMER_D, HRTIM_COMPAREUNIT_1, &pCompareCfg) != HAL_OK)
  {
    Error_Handler();
  }
  HAL_HRTIM_MspPostInit(&hhrtim1);

}

static void MX_GPIO_Init(void)
{
  GPIO_InitTypeDef GPIO_InitStruct = {0};

  /* GPIO Ports Clock Enable */
  __HAL_RCC_GPIOC_CLK_ENABLE();
  __HAL_RCC_GPIOA_CLK_ENABLE();
  __HAL_RCC_GPIOB_CLK_ENABLE();

  /*Configure GPIO pin : B1_Pin */
  GPIO_InitStruct.Pin = B1_Pin;
  GPIO_InitStruct.Mode = GPIO_MODE_IT_RISING;
  GPIO_InitStruct.Pull = GPIO_NOPULL;
  HAL_GPIO_Init(B1_GPIO_Port, &GPIO_InitStruct);

}

void Error_Handler(void)
{
  /* USER CODE BEGIN Error_Handler_Debug */
  /* User can add his own implementation to report the HAL error return state */

  /* Turn LED5 on */
  BSP_LED_On(LED5);
  while(1)
  {
  }
  /* USER CODE END Error_Handler_Debug */
}
